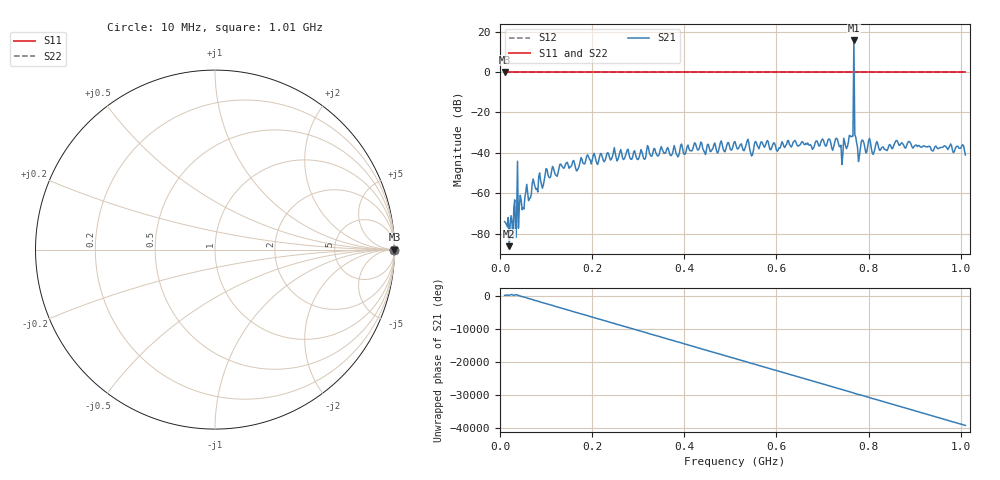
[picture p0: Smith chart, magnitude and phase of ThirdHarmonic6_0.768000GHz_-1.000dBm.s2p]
! 8/16/2025 1:40:00 AM
! C:\ANRITSUVNA\TEMP\TEMP.S2P
! CHANNEL.1
! TR.MEASUREMENT
! RAW.DATA
! RF.CORRECTION.OFF
! AVERAGING.OFF
! IF.BANDWIDTH: 5KHZ
! SWEEPTYPE:  FREQ.SWEEP(Linear)
! Reference Plane Port Info
! PORT:  PORT1  PORT2
! DISTANCE:  0  m  0  m
! TIME:  0  s  0  s
! PHASE.OFFSET:  0  deg.  0  deg.
! LOSS:  0  dB  0  dB
! REF.LOSS:  0  dB  0  dB
! REF.FREQ:  0  Hz  0  Hz
! Power Info
! POWER:  -20  dBm  -20  dBm
! EFF.POWER:  -20  dBm  -20  dBm
! SOURCE.ATTEN:  0  dB  0  dB
! TEST.ATTEN:  0  dB  0  dB
# GHZ S RI R 50.0
! FREQ.GHZ  S11RE  S11IM  S21RE  S21IM  S12RE  S12IM  S22RE  S22IM
!; PortSelection: Port_12
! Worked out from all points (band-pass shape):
!   501 points, 10 MHz to 1.01 GHz, reference 50 ohm
!   highest |S21| = 15.60 dB at 768 MHz (marker M1); lowest = -86.1 dB at 20 MHz (marker M2)
!   |S21| within 3 dB of the highest: 767.8731 MHz to 768.1288 MHz (255.7 kHz wide, 0.0333 % of centre)
!   lowest |S11| = 0.0 dB at 10 MHz (marker M3)
!   |S11| at or under -10 dB: nowhere
!   |S22| runs from 0.0 to 0.0 dB; largest |S21 - S12| = 6.4
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0.01  1 0  -1.05e-05 0.000199  1 0  1 0
0.02  1 0  8.6e-06 4.88e-05  1 0  1 0
0.032  1 0  -0.000662 -0.0002  1 0  1 0
0.034  1 0  2.56e-05 -7.58e-05  1 0  1 0
0.038  1 0  -0.00617 0.00107  1 0  1 0
0.042  1 0  0.000427 -0.00022  1 0  1 0
0.044  1 0  -0.000784 -0.000433  1 0  1 0
0.1  1 0  -0.00167 0.00372  1 0  1 0
0.178  1 0  -0.00677 0.00117  1 0  1 0
0.344  1 0  0.00693 -0.00495  1 0  1 0
0.51  1 0  -0.0043 0.0185  1 0  1 0
0.546  1 0  -1.85e-05 0.00841  1 0  1 0
0.678  1 0  -0.0122 0.00143  1 0  1 0
0.73  1 0  -0.0132 -0.019  1 0  1 0
0.74  1 0  -0.014 -0.00667  1 0  1 0
0.762  1 0  0.0234 0.00864  1 0  1 0
0.764  1 0  0.0128 -0.0225  1 0  1 0
0.768  1 0  -2.129 5.633  1 0  1 0
0.772  1 0  0.01 -0.0225  1 0  1 0
0.774  1 0  -0.0155 -0.00878  1 0  1 0
0.844  1 0  0.0132 -0.00787  1 0  1 0
1.01  1 0  0.000241 0.00887  1 0  1 0
